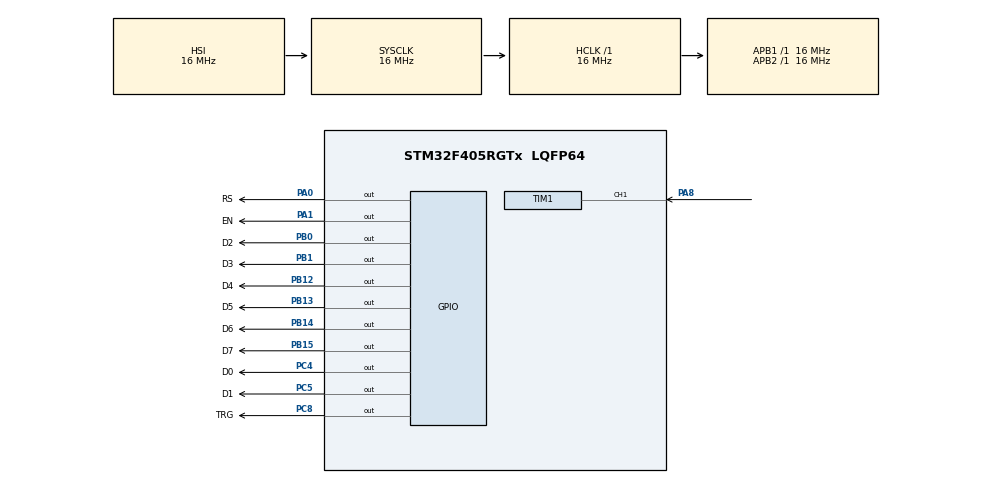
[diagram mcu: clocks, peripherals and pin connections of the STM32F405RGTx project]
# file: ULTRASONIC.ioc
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Mcu.Family=STM32F4
Mcu.Name=STM32F405RGTx
Mcu.Package=LQFP64
NVIC.PriorityGroup=NVIC_PRIORITYGROUP_4
NVIC.TIM1_CC_IRQn=true\:0\:0\:false\:false\:true\:true\:true\:true
PA0-WKUP.GPIO_Label=RS
PA0-WKUP.Signal=GPIO_Output
PA1.GPIO_Label=EN
PA1.Signal=GPIO_Output
PA13.Mode=Serial_Wire
PA13.Signal=SYS_JTMS-SWDIO
PA14.Mode=Serial_Wire
PA14.Signal=SYS_JTCK-SWCLK
PA8.Signal=S_TIM1_CH1
PB0.GPIO_Label=D2
PB0.Signal=GPIO_Output
PB1.GPIO_Label=D3
PB1.Signal=GPIO_Output
PB12.GPIO_Label=D4
PB12.Signal=GPIO_Output
PB13.GPIO_Label=D5
PB13.Signal=GPIO_Output
PB14.GPIO_Label=D6
PB14.Signal=GPIO_Output
PB15.GPIO_Label=D7
PB15.Signal=GPIO_Output
PC14-OSC32_IN.Mode=LSE-External-Oscillator
PC14-OSC32_IN.Signal=RCC_OSC32_IN
PC15-OSC32_OUT.Mode=LSE-External-Oscillator
PC15-OSC32_OUT.Signal=RCC_OSC32_OUT
PC4.GPIO_Label=D0
PC4.Signal=GPIO_Output
PC5.GPIO_Label=D1
PC5.Signal=GPIO_Output
PC8.GPIO_Label=TRG
PC8.Signal=GPIO_Output
PH0-OSC_IN.Mode=HSE-External-Oscillator
PH0-OSC_IN.Signal=RCC_OSC_IN
PH1-OSC_OUT.Mode=HSE-External-Oscillator
PH1-OSC_OUT.Signal=RCC_OSC_OUT
ProjectManager.HeapSize=0x200
ProjectManager.StackSize=0x400
ProjectManager.TargetToolchain=STM32CubeIDE
RCC.AHBFreq_Value=16000000
RCC.APB1Freq_Value=16000000
RCC.APB2Freq_Value=16000000
RCC.CortexFreq_Value=16000000
RCC.HSE_VALUE=25000000
RCC.HSI_VALUE=16000000
RCC.SYSCLKFreq_VALUE=16000000
RCC.VCOOutputFreq_Value=192000000
SH.S_TIM1_CH1.0=TIM1_CH1,Input_Capture1_from_TI1
TIM1.Channel-Input_Capture1_from_TI1=TIM_CHANNEL_1
TIM1.Prescaler=15
VP_TIM1_VS_ClockSourceINT.Mode=Internal
board=custom

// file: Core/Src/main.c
/* USER CODE BEGIN Header */
/**
  ******************************************************************************
  * @file           : main.c
  * @brief          : Main program body
  ******************************************************************************
  * @attention
  *
  * Copyright (c) 2023 STMicroelectronics.
  * All rights reserved.
  *
  * This software is licensed under terms that can be found in the LICENSE file
  * in the root directory of this software component.
  * If no LICENSE file comes with this software, it is provided AS-IS.
  *
  ******************************************************************************
  */
/* USER CODE END Header */
#include "main.h"

 TIM_HandleTypeDef htim1;

void SystemClock_Config(void);
static void MX_GPIO_Init(void);
static void MX_TIM1_Init(void);
/* USER CODE BEGIN PFP */
void LCDStringdata(unsigned char *s);
void LCDInitialize(void);
void cmd(unsigned char y);
void data(unsigned char z);
void DisplayNumeric(unsigned int Value);
void delay (uint16_t time);
/* USER CODE END PFP */

/* USER CODE BEGIN 0 */
void delay (uint16_t time)
{
	__HAL_TIM_SET_COUNTER(&htim1, 0);
	while (__HAL_TIM_GET_COUNTER (&htim1) < time);
}

/*uint32_t IC_Val1 = 0;
uint32_t IC_Val2 = 0;
uint32_t Difference = 0;
uint8_t Is_First_Captured = 0;
uint8_t Distance  = 0;*/

volatile uint32_t IC_Val1 = 0;
volatile uint32_t IC_Val2 = 0;
volatile uint32_t Difference = 0;
volatile uint8_t Is_First_Captured = 0;
uint32_t Distance=0;

#define TRIG_PIN GPIO_PIN_8
#define TRIG_PORT GPIOC

void HAL_TIM_IC_CaptureCallback(TIM_HandleTypeDef *htim)
{
	if (htim->Channel == HAL_TIM_ACTIVE_CHANNEL_1)  // if the interrupt source is channel1
	{
		if (Is_First_Captured==0) // if the first value is not captured
		{
			IC_Val1 = HAL_TIM_ReadCapturedValue( htim, TIM_CHANNEL_1); // read the first value
			Is_First_Captured = 1;  // set the first captured as true
			// Now change the polarity to falling edge
			__HAL_TIM_SET_CAPTUREPOLARITY( htim, TIM_CHANNEL_1, TIM_INPUTCHANNELPOLARITY_FALLING);
		}

		else if (Is_First_Captured==1)   // if the first is already captured
		{
			IC_Val2 = HAL_TIM_ReadCapturedValue( htim, TIM_CHANNEL_1);  // read second value
			__HAL_TIM_SET_COUNTER(htim, 0);  // reset the counter

			if (IC_Val2 > IC_Val1)
			{
				Difference = IC_Val2-IC_Val1;
			}

			else if (IC_Val1 > IC_Val2)
			{
				Difference = (0xffff - IC_Val1) + IC_Val2;
			}

			Distance = Difference * .034/2;
			Is_First_Captured = 0; // set it back to false

			// set polarity to rising edge
			__HAL_TIM_SET_CAPTUREPOLARITY(htim, TIM_CHANNEL_1, TIM_INPUTCHANNELPOLARITY_RISING);
			__HAL_TIM_DISABLE_IT(&htim1, TIM_IT_CC1);
		}
	}
}

void HCSR04_Read (void)
{
	HAL_GPIO_WritePin(TRIG_PORT, TRIG_PIN, GPIO_PIN_SET);  // pull the TRIG pin HIGH
	delay(10);  // wait for 10 us
	HAL_GPIO_WritePin(TRIG_PORT, TRIG_PIN, GPIO_PIN_RESET);  // pull the TRIG pin low

	__HAL_TIM_ENABLE_IT(&htim1, TIM_IT_CC1);
}

/*void HAL_TIM_IC_CaptureCallback(TIM_HandleTypeDef *htim)
{
    if (htim->Instance == TIM2)
    {
        if (Is_First_Captured == 0)
        {
            IC_Val1 = HAL_TIM_ReadCapturedValue(htim, TIM_CHANNEL_1);
            Is_First_Captured = 1;
            __HAL_TIM_SET_CAPTUREPOLARITY(htim, TIM_CHANNEL_1, TIM_INPUTCHANNELPOLARITY_FALLING);
        }
        else if (Is_First_Captured == 1)
        {
            IC_Val2 = HAL_TIM_ReadCapturedValue(htim, TIM_CHANNEL_1);
            __HAL_TIM_SET_COUNTER(htim, 0);

            if (IC_Val2 > IC_Val1)
            {
                Difference = IC_Val2 - IC_Val1;
            }
            else
            {
                Difference = (0xFFFF - IC_Val1) + IC_Val2;
            }

            // Distance calculation in centimeters
            Distance = Difference / 58;

            // Use DistanceInCentimeters as needed, e.g., print to UART
            //printf("Distance: %lu cm\r\n", DistanceInCentimeters);

            Is_First_Captured = 0;
            __HAL_TIM_SET_CAPTUREPOLARITY(htim, TIM_CHANNEL_1, TIM_INPUTCHANNELPOLARITY_RISING);
            HAL_TIM_IC_Start_IT(&htim1, TIM_CHANNEL_1);
        }
    }
}*/
/* USER CODE END 0 */

int main(void)
{

  /* MCU Configuration--------------------------------------------------------*/

  /* Reset of all peripherals, Initializes the Flash interface and the Systick. */
  HAL_Init();

  /* Configure the system clock */
  SystemClock_Config();

  /* Initialize all configured peripherals */
  MX_GPIO_Init();
  MX_TIM1_Init();
  /* USER CODE BEGIN 2 */
  HAL_TIM_IC_Start_IT(&htim1, TIM_CHANNEL_1);
    LCDInitialize();
  /* USER CODE END 2 */

  /* Infinite loop */
  /* USER CODE BEGIN WHILE */
  while (1)
  {

	 /* HCSR04_Read();

	          // Assuming you want to print the distance over UART
	          char buffer[20];
	          sprintf(buffer, sizeof(buffer), "Distance: %.2f cm\r\n", Distance);
	          HAL_UART_Transmit(&huart1, (uint8_t *)buffer, strlen(buffer), HAL_MAX_DELAY);
                  HAL_Delay(1000); // Adjust the delay as needed*/

 cmd(0x80);

	      LCDStringdata("ULTRASONIC SENSOR");
	      cmd(0xC0);
	  	  LCDStringdata("DISTANCE= ");
	  	  HCSR04_Read();

	  	  data((Distance/100) + 48);
	  	  data(((Distance/10)%10) + 48);
	  	  data((Distance%10)+ 48);

	  	//DisplayNumeric(Distance);
	  	  //data(Distance);
	  	  LCDStringdata("cm");
	  	  HAL_Delay(800);
    /* USER CODE END WHILE */

  }
}

void SystemClock_Config(void)
{
  RCC_OscInitTypeDef RCC_OscInitStruct = {0};
  RCC_ClkInitTypeDef RCC_ClkInitStruct = {0};

  /** Configure the main internal regulator output voltage
  */
  __HAL_RCC_PWR_CLK_ENABLE();
  __HAL_PWR_VOLTAGESCALING_CONFIG(PWR_REGULATOR_VOLTAGE_SCALE1);

  /** Initializes the RCC Oscillators according to the specified parameters
  * in the RCC_OscInitTypeDef structure.
  */
  RCC_OscInitStruct.OscillatorType = RCC_OSCILLATORTYPE_HSI;
  RCC_OscInitStruct.HSIState = RCC_HSI_ON;
  RCC_OscInitStruct.HSICalibrationValue = RCC_HSICALIBRATION_DEFAULT;
  RCC_OscInitStruct.PLL.PLLState = RCC_PLL_NONE;
  if (HAL_RCC_OscConfig(&RCC_OscInitStruct) != HAL_OK)
  {
    Error_Handler();
  }

  /** Initializes the CPU, AHB and APB buses clocks
  */
  RCC_ClkInitStruct.ClockType = RCC_CLOCKTYPE_HCLK|RCC_CLOCKTYPE_SYSCLK
                              |RCC_CLOCKTYPE_PCLK1|RCC_CLOCKTYPE_PCLK2;
  RCC_ClkInitStruct.SYSCLKSource = RCC_SYSCLKSOURCE_HSI;
  RCC_ClkInitStruct.AHBCLKDivider = RCC_SYSCLK_DIV1;
  RCC_ClkInitStruct.APB1CLKDivider = RCC_HCLK_DIV1;
  RCC_ClkInitStruct.APB2CLKDivider = RCC_HCLK_DIV1;

  if (HAL_RCC_ClockConfig(&RCC_ClkInitStruct, FLASH_LATENCY_0) != HAL_OK)
  {
    Error_Handler();
  }
}

static void MX_TIM1_Init(void)
{

  TIM_ClockConfigTypeDef sClockSourceConfig = {0};
  TIM_MasterConfigTypeDef sMasterConfig = {0};
  TIM_IC_InitTypeDef sConfigIC = {0};

  htim1.Instance = TIM1;
  htim1.Init.Prescaler = 15;
  htim1.Init.CounterMode = TIM_COUNTERMODE_UP;
  htim1.Init.Period = 65535;
  htim1.Init.ClockDivision = TIM_CLOCKDIVISION_DIV1;
  htim1.Init.RepetitionCounter = 0;
  htim1.Init.AutoReloadPreload = TIM_AUTORELOAD_PRELOAD_DISABLE;
  if (HAL_TIM_Base_Init(&htim1) != HAL_OK)
  {
    Error_Handler();
  }
  sClockSourceConfig.ClockSource = TIM_CLOCKSOURCE_INTERNAL;
  if (HAL_TIM_ConfigClockSource(&htim1, &sClockSourceConfig) != HAL_OK)
  {
    Error_Handler();
  }
  if (HAL_TIM_IC_Init(&htim1) != HAL_OK)
  {
    Error_Handler();
  }
  sMasterConfig.MasterOutputTrigger = TIM_TRGO_RESET;
  sMasterConfig.MasterSlaveMode = TIM_MASTERSLAVEMODE_DISABLE;
  if (HAL_TIMEx_MasterConfigSynchronization(&htim1, &sMasterConfig) != HAL_OK)
  {
    Error_Handler();
  }
  sConfigIC.ICPolarity = TIM_INPUTCHANNELPOLARITY_RISING;
  sConfigIC.ICSelection = TIM_ICSELECTION_DIRECTTI;
  sConfigIC.ICPrescaler = TIM_ICPSC_DIV1;
  sConfigIC.ICFilter = 0;
  if (HAL_TIM_IC_ConfigChannel(&htim1, &sConfigIC, TIM_CHANNEL_1) != HAL_OK)
  {
    Error_Handler();
  }

}

static void MX_GPIO_Init(void)
{
  GPIO_InitTypeDef GPIO_InitStruct = {0};

  /* GPIO Ports Clock Enable */
  __HAL_RCC_GPIOC_CLK_ENABLE();
  __HAL_RCC_GPIOH_CLK_ENABLE();
  __HAL_RCC_GPIOA_CLK_ENABLE();
  __HAL_RCC_GPIOB_CLK_ENABLE();

  /*Configure GPIO pin Output Level */
  HAL_GPIO_WritePin(GPIOA, RS_Pin|EN_Pin, GPIO_PIN_RESET);

  /*Configure GPIO pin Output Level */
  HAL_GPIO_WritePin(GPIOC, D0_Pin|D1_Pin|TRG_Pin, GPIO_PIN_RESET);

  /*Configure GPIO pin Output Level */
  HAL_GPIO_WritePin(GPIOB, D2_Pin|D3_Pin|D4_Pin|D5_Pin
                          |D6_Pin|D7_Pin, GPIO_PIN_RESET);

  /*Configure GPIO pins : RS_Pin EN_Pin */
  GPIO_InitStruct.Pin = RS_Pin|EN_Pin;
  GPIO_InitStruct.Mode = GPIO_MODE_OUTPUT_PP;
  GPIO_InitStruct.Pull = GPIO_NOPULL;
  GPIO_InitStruct.Speed = GPIO_SPEED_FREQ_LOW;
  HAL_GPIO_Init(GPIOA, &GPIO_InitStruct);

  /*Configure GPIO pins : D0_Pin D1_Pin TRG_Pin */
  GPIO_InitStruct.Pin = D0_Pin|D1_Pin|TRG_Pin;
  GPIO_InitStruct.Mode = GPIO_MODE_OUTPUT_PP;
  GPIO_InitStruct.Pull = GPIO_NOPULL;
  GPIO_InitStruct.Speed = GPIO_SPEED_FREQ_LOW;
  HAL_GPIO_Init(GPIOC, &GPIO_InitStruct);

  /*Configure GPIO pins : D2_Pin D3_Pin D4_Pin D5_Pin
                           D6_Pin D7_Pin */
  GPIO_InitStruct.Pin = D2_Pin|D3_Pin|D4_Pin|D5_Pin
                          |D6_Pin|D7_Pin;
  GPIO_InitStruct.Mode = GPIO_MODE_OUTPUT_PP;
  GPIO_InitStruct.Pull = GPIO_NOPULL;
  GPIO_InitStruct.Speed = GPIO_SPEED_FREQ_LOW;
  HAL_GPIO_Init(GPIOB, &GPIO_InitStruct);

}

/* USER CODE BEGIN 4 */
void LCDStringdata(unsigned char *s)
{
	while(*s)
	{
	data(*s++);
	HAL_Delay(2);
	}
}
void LCDInitialize(void)
{
	HAL_Delay(10);
	cmd(0x38);
	cmd(0x0E);
	cmd(0x06);
	cmd(0x01);
	cmd(0x0C);
	HAL_Delay(10);
}
void cmd(unsigned char y)
{
	HAL_GPIO_WritePin(GPIOA, RS_Pin,0);

	HAL_GPIO_WritePin(GPIOB, D7_Pin, (y & 0x80));
	HAL_GPIO_WritePin(GPIOB, D6_Pin, (y & 0x40));
	HAL_GPIO_WritePin(GPIOB, D5_Pin, (y & 0x20));
	HAL_GPIO_WritePin(GPIOB, D4_Pin, (y & 0x10));
	HAL_GPIO_WritePin(GPIOB, D3_Pin, (y & 0x08));
	HAL_GPIO_WritePin(GPIOB, D2_Pin, (y & 0x04));
	HAL_GPIO_WritePin(GPIOC, D1_Pin, (y & 0x02));
	HAL_GPIO_WritePin(GPIOC, D0_Pin, (y & 0x01));

	    HAL_GPIO_WritePin(GPIOA,EN_Pin,1);
	    HAL_Delay(2);
	    HAL_GPIO_WritePin(GPIOA,EN_Pin,0);
	    HAL_Delay(2);

}
void data(unsigned char z)
{
	HAL_GPIO_WritePin(GPIOA, RS_Pin,1);

	    HAL_GPIO_WritePin(GPIOB, D7_Pin, (z & 0x80));
	    HAL_GPIO_WritePin(GPIOB, D6_Pin, (z & 0x40));
	    HAL_GPIO_WritePin(GPIOB, D5_Pin, (z & 0x20));
	    HAL_GPIO_WritePin(GPIOB, D4_Pin, (z & 0x10));
	    HAL_GPIO_WritePin(GPIOB, D3_Pin, (z & 0x08));
	    HAL_GPIO_WritePin(GPIOB, D2_Pin, (z & 0x04));
	    HAL_GPIO_WritePin(GPIOC, D1_Pin, (z & 0x02));
	    HAL_GPIO_WritePin(GPIOC, D0_Pin, (z & 0x01));

	       HAL_GPIO_WritePin(GPIOA,EN_Pin,1);
	       HAL_Delay(2);
	       HAL_GPIO_WritePin(GPIOA,EN_Pin,0);
	       HAL_Delay(2);

}

/*void DisplayNumeric(unsigned int Value)
{
	data(((Value%10000)/1000)+0x30);
	data(((Value%1000)/100)+0x30);
	data(((Value%100)/10)+0x30);
	data((Value%10)+0x30);
}*/
/* USER CODE END 4 */

void Error_Handler(void)
{
  __disable_irq();
  while (1)
  {
  }
}
